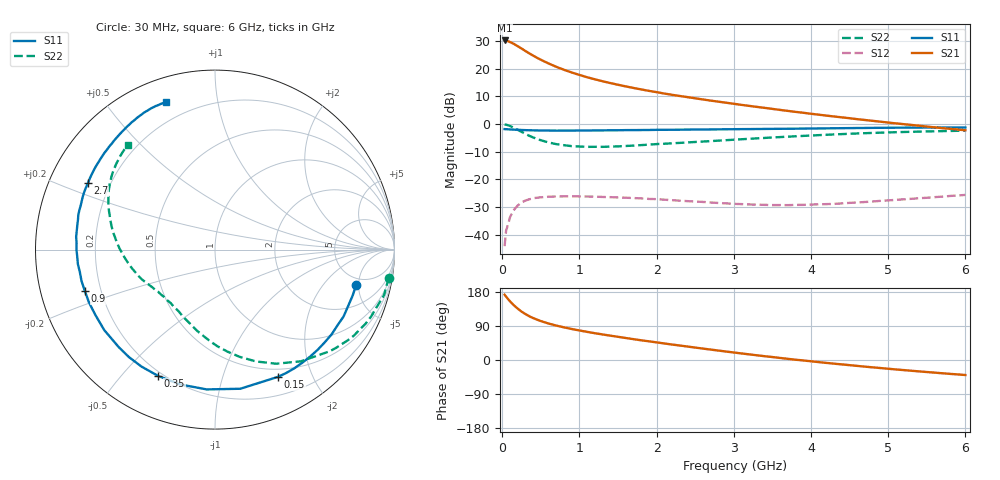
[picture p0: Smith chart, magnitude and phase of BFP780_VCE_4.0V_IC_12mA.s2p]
! Infineon Technologies  Discrete & RF Semiconductors
! BFP780
! VCE =  4.0 V,  IC =  12 mA
! Common Emitter S-Parameters:  Jul 2015
# GHz  S  MA  R  50
!  f  S11  S21  S12  S22
! GHz  MAG  ANG  MAG  ANG  MAG  ANG  MAG  ANG
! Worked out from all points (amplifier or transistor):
!   75 points, 30 MHz to 6 GHz, reference 50 ohm
!   highest |S21| = 30.2 dB at 30 MHz (marker M1)
!   |S21| within 3 dB of that: start of sweep to 254.3 MHz
!   unconditionally stable (mu >= 1): 2.548 GHz to end of sweep
!   at 150 MHz: K = 0.07, MSG = 30.0 dB, |S12| = -31.1 dB
!   at 2.3 GHz: K = 0.89, MSG = 18.9 dB, |S12| = -27.7 dB
!   at 6 GHz: K = 1.39, MAG = 8.0 dB, |S12| = -25.6 dB
!   S11 on the Smith chart (normalised r, x): 30 MHz: 4.08, -4.67; 150 MHz: 0.41, -1.54; 350 MHz: 0.18, -0.63; 900 MHz: 0.14, -0.15; 2.7 GHz: 0.12, +0.24; 6 GHz: 0.11, +0.71
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0.03  0.8108 -14.0  32.43 172.2  0.0062 73.0  0.9837 -9.1
0.06  0.8075 -27.5  31.95 164.5  0.0131 75.9  0.9631 -17.8
0.09  0.8004 -40.4  30.89 157.2  0.0184 70.2  0.9346 -26.3
0.12  0.7961 -52.5  29.54 150.5  0.0235 60.8  0.8962 -34.3
0.15  0.7913 -63.6  28.13 144.4  0.028 55.9  0.8544 -41.5
0.2  0.788 -79.7  25.51 135.5  0.0337 47.5  0.7854 -52.4
0.25  0.7803 -93.4  23.17 127.6  0.0384 41.1  0.7215 -61.8
0.3  0.7759 -104.5  20.88 121.2  0.0414 35.4  0.6635 -69.9
0.35  0.7718 -114.2  18.96 115.5  0.0437 30.8  0.6128 -77.1
0.4  0.7697 -122.1  17.25 110.6  0.0455 26.6  0.5723 -83.1
0.45  0.7672 -128.6  15.77 106.5  0.0466 23.5  0.5386 -88.6
0.6  0.7628 -144.0  12.44 96.2  0.0485 15.8  0.4649 -102.1
0.7  0.7595 -151.3  10.82 90.8  0.0491 12.4  0.4333 -109.2
0.9  0.7609 -162.4  8.548 81.8  0.0494 6.9  0.3986 -120.7
1.1  0.7633 -170.6  7.006 74.2  0.049 2.9  0.3868 -129.7
1.6  0.7769 174.7  4.791 58.0  0.0466 -4.1  0.4016 -146.2
2.1  0.787 163.8  3.557 43.6  0.0429 -8.1  0.4408 -158.1
2.7  0.7988 152.4  2.652 27.5  0.0382 -8.2  0.4917 -171.7
3.1  0.8093 145.4  2.22 17.3  0.0357 -5.6  0.5312 179.5
4.1  0.8332 129.9  1.476 -5.6  0.0354 7.1  0.6302 159.7
5.1  0.8597 117.4  1.028 -24.9  0.0426 14.2  0.7121 143.3
6  0.8664 108.5  0.772 -39.7  0.0524 13.8  0.7595 129.8
